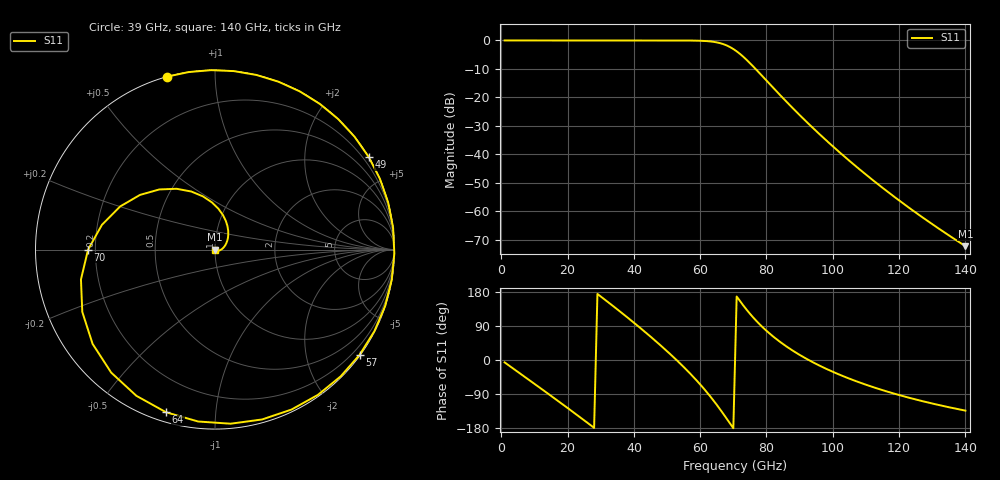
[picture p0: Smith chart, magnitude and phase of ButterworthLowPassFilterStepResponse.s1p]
! File created by SignalIntegrity v1.1.14: Signal and Power Integrity Tools
! https://github.com/TeledyneLeCroy/SignalIntegrity
# MHz S MA R 50.0
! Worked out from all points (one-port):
!   140 points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, 1 GHz to 140 GHz, reference 50 ohm
!   lowest |S11| = -72.3 dB at 140 GHz (marker M1), VSWR 1.00, Z = 50 - j0.0177 ohm
!   |S11| at or under -10 dB: 76.71 GHz to end of sweep
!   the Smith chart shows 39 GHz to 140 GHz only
!   S11 on the Smith chart (normalised r, x): 39 GHz: 0.00, +0.76; 49 GHz: 0.00, +3.59; 57 GHz: 0.02, -3.07; 64 GHz: 0.04, -0.74; 70 GHz: 0.17, -0.00; 140 GHz: 1.00, -0.00
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1000  1 -6.3
6000  1 -37.7
11000  1 -69.2
15000  1 -94.6
19000  1 -120.2
24000  1 -152.6
28000  1 -179.0
32000  1 154.1
36000  1 126.7
39000  1 105.6
44000  1 69.3
49000  0.9999 31.1
52000  0.9996 7.0
54000  0.999 -9.7
57000  0.9964 -36.1
61000  0.9821 -74.5
64000  0.9464 -106.7
67000  0.8608 -142.4
68000  0.8168 -154.9
70000  0.7071 -180.0
71000  0.6448 167.6
74000  0.4567 132.8
78000  0.2633 93.6
82000  0.1481 62.0
88000  0.06405 24.3
106000  0.006879 -52.6
123000  0.001154 -99.6
140000  0.000244 -133.6
